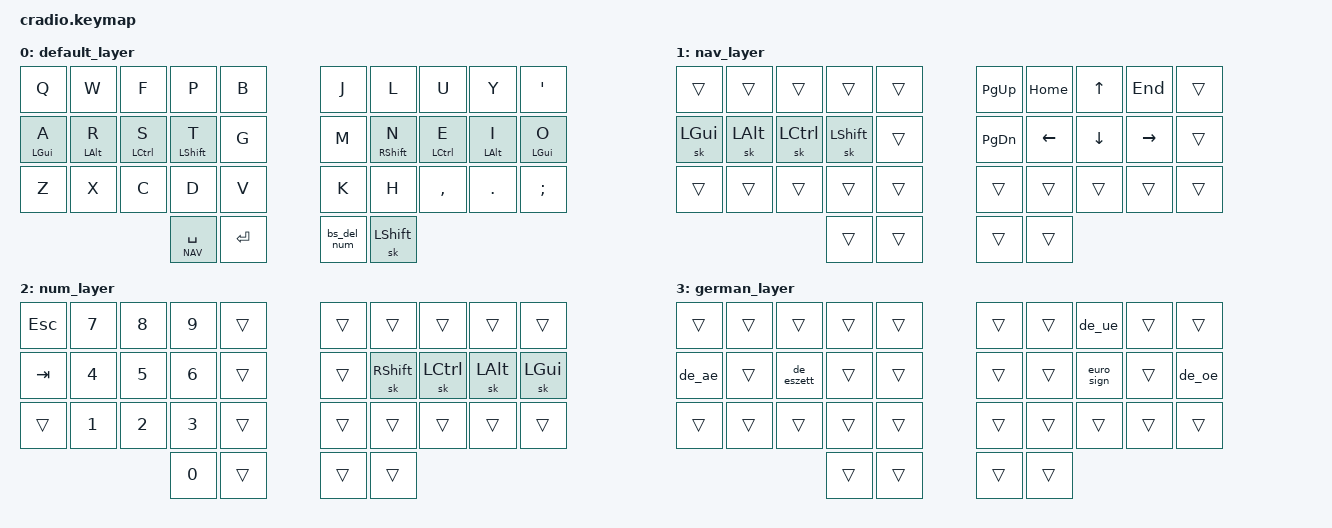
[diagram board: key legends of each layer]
/*                                      38 KEY MATRIX / LAYOUT MAPPING

    ╭────────────────────┬────────────────────╮        ╭──────────────────────┬─────────────────────╮
    │  0   1   2   3   4 │  5   6   7   8   9 │        │  LT4 LT3 LT2 LT1 LT0 │ RT0 RT1 RT2 RT3 RT4 │
 ╭──╯ 10  11  12  13  14 │ 15  16  17  18  19 ╰───╮ ╭──╯  LM4 LM3 LM2 LM1 LM0 │ RM0 RM1 RM2 RM3 RM4 ╰───╮
 │ 20 21  22  23  24  25 │ 26  27  28  29  30  31 │ │ LB5 LB4 LB3 LB2 LB1 LB0 │ RB0 RB1 RB2 RB3 RB4 RB5 │
 ╰──────────╮ 32  33  34 │ 35  36  37 ╭───────────╯ ╰──────────╮  LH2 LH1 LH0 │ RH0 RH1 RH2 ╭───────────╯
            ╰────────────┴────────────╯                        ╰──────────────┴─────────────╯
*/

#include <behaviors.dtsi>
#include <dt-bindings/zmk/keys.h>

#include "zmk-helpers/helper.h"
#include "zmk-helpers/key-labels/34.h"
#include "zmk-helpers/unicode-chars/german.dtsi"

#define ___ &trans

#define DEF 0
#define NAV 1
#define NUM 2
#define GER 3

/* Timeless homerow mods */

// https://github.com/urob/zmk-config/tree/main#timeless-homerow-mods
#define KEYS_L LT0 LT1 LT2 LT3 LT4 LM0 LM1 LM2 LM3 LM4 LB0 LB1 LB2 LB3 LB4  // left hand
#define KEYS_R RT0 RT1 RT2 RT3 RT4 RM0 RM1 RM2 RM3 RM4 RB0 RB1 RB2 RB3 RB4  // right hand
#define THUMBS LH1 LH0 RH0 RH1                                              // thumbs

ZMK_HOLD_TAP(hml,
    flavor = "balanced";
    tapping-term-ms = <280>;
    require-prior-idle-ms = <150>;
    hold-trigger-key-positions = <KEYS_R THUMBS>;
    hold-trigger-on-release;
    bindings = <&kp>, <&kp>;
)

ZMK_HOLD_TAP(hmr,
    flavor = "balanced";
    tapping-term-ms = <280>;
    require-prior-idle-ms = <150>;
    hold-trigger-key-positions = <KEYS_L THUMBS>;
    hold-trigger-on-release;
    bindings = <&kp>, <&kp>;
)

/* Custom behaviors */

// tap: copy | double-tap: cut
ZMK_TAP_DANCE(copy_cut,
    tapping-term-ms = <200>;
    bindings = <&kp LC(INS)>, <&kp LC(X)>;
)

// tap: backspace | shift + tap: delete | hold: num layer
ZMK_MOD_MORPH(bs_del_num,
    bindings = <&lt NUM BSPC>, <&kp DEL>;
    mods = <(MOD_LSFT|MOD_RSFT)>;
)

// windows sleep macro
ZMK_MACRO(win_sleep,
    wait-ms = <100>;
    tap-ms = <5>;
    bindings = <&kp LG(X) &kp U &kp S>;
)

// euro sign
ZMK_UNICODE_SINGLE(euro_sign, N2, N0, A, C)  // €

// replace a/o/u/s with German umlauts when NAV and NUM are held jointly
ZMK_CONDITIONAL_LAYER(ger, NAV NUM, GER)

// combos
ZMK_COMBO(sleep,    &win_sleep,  RT3 RT4, NAV)  // put Windows to sleep, only active on NAV layer
ZMK_COMBO(copy_cut, &copy_cut,   LB2 LB3, ALL)  // copy on tap, cut on double-tap, active on all layers
ZMK_COMBO(paste,    &kp LS(INS), LB1 LB2, ALL)  // paste, active on all layers

/* Keymap */

ZMK_LAYER(default_layer,
     // ╭─────────────┬─────────────┬─────────────┬─────────────┬─────────────╮   ╭─────────────┬─────────────┬─────────────┬─────────────┬─────────────╮
          &kp Q         &kp W         &kp F         &kp P         &kp B             &kp J         &kp L         &kp U         &kp Y         &kp SQT
     // ├─────────────┼─────────────┼─────────────┼─────────────┼─────────────┤   ├─────────────┼─────────────┼─────────────┼─────────────┼─────────────┤
          &hml LGUI A   &hml LALT R   &hml LCTRL S  &hml LSHFT T  &kp G             &kp M         &hmr RSHFT N  &hmr LCTRL E  &hmr LALT I   &hmr LGUI O
     // ├─────────────┼─────────────┼─────────────┼─────────────┼─────────────┤   ├─────────────┼─────────────┼─────────────┼─────────────┼─────────────┤
          &kp Z         &kp X         &kp C         &kp D         &kp V             &kp K         &kp H         &kp COMMA     &kp DOT       &kp SEMI
     // ╰─────────────────────────────────────────┼─────────────┼─────────────┤   ├─────────────┼─────────────┼─────────────────────────────────────────╯
                                                    &lt NAV SPACE &kp RET           &bs_del_num   &sk LSHFT
     //                                           ╰─────────────┴─────────────╯   ╰─────────────┴─────────────╯
)

ZMK_LAYER(nav_layer,
     // ╭─────────────┬─────────────┬─────────────┬─────────────┬─────────────╮   ╭─────────────┬─────────────┬─────────────┬─────────────┬─────────────╮
          ___           ___           ___           ___           ___               &kp PG_UP     &kp HOME      &kp UP        &kp END       ___
     // ├─────────────┼─────────────┼─────────────┼─────────────┼─────────────┤   ├─────────────┼─────────────┼─────────────┼─────────────┼─────────────┤
          &sk LGUI      &sk LALT      &sk LCTRL     &sk LSHFT     ___               &kp PG_DN     &kp LEFT      &kp DOWN      &kp RIGHT     ___
     // ├─────────────┼─────────────┼─────────────┼─────────────┼─────────────┤   ├─────────────┼─────────────┼─────────────┼─────────────┼─────────────┤
          ___           ___           ___           ___           ___               ___           ___           ___           ___           ___
     // ╰─────────────────────────────────────────┼─────────────┼─────────────┤   ├─────────────┼─────────────┼─────────────────────────────────────────╯
                                                    ___           ___               ___           ___
     //                                           ╰─────────────┴─────────────╯   ╰─────────────┴─────────────╯
)

ZMK_LAYER(num_layer,
     // ╭─────────────┬─────────────┬─────────────┬─────────────┬─────────────╮   ╭─────────────┬─────────────┬─────────────┬─────────────┬─────────────╮
          &kp ESC       &kp N7        &kp N8        &kp N9        ___               ___           ___           ___           ___           ___
     // ├─────────────┼─────────────┼─────────────┼─────────────┼─────────────┤   ├─────────────┼─────────────┼─────────────┼─────────────┼─────────────┤
          &kp TAB       &kp N4        &kp N5        &kp N6        ___               ___           &sk RSHFT     &sk LCTRL     &sk LALT      &sk LGUI
     // ├─────────────┼─────────────┼─────────────┼─────────────┼─────────────┤   ├─────────────┼─────────────┼─────────────┼─────────────┼─────────────┤
          ___           &kp N1        &kp N2        &kp N3        ___               ___           ___           ___           ___           ___
     // ╰─────────────────────────────────────────┼─────────────┼─────────────┤   ├─────────────┼─────────────┼─────────────────────────────────────────╯
                                                    &kp N0        ___               ___           ___
     //                                           ╰─────────────┴─────────────╯   ╰─────────────┴─────────────╯
)

ZMK_LAYER(german_layer,
     // ╭─────────────┬─────────────┬─────────────┬─────────────┬─────────────╮   ╭─────────────┬─────────────┬─────────────┬─────────────┬─────────────╮
          ___           ___           ___           ___           ___               ___           ___           &de_ue        ___           ___
     // ├─────────────┼─────────────┼─────────────┼─────────────┼─────────────┤   ├─────────────┼─────────────┼─────────────┼─────────────┼─────────────┤
          &de_ae        ___           &de_eszett    ___           ___               ___           ___           &euro_sign    ___           &de_oe
     // ├─────────────┼─────────────┼─────────────┼─────────────┼─────────────┤   ├─────────────┼─────────────┼─────────────┼─────────────┼─────────────┤
          ___           ___           ___           ___           ___               ___           ___           ___           ___           ___
     // ╰─────────────────────────────────────────┼─────────────┼─────────────┤   ├─────────────┼─────────────┼─────────────────────────────────────────╯
                                                    ___           ___               ___           ___
     //                                           ╰─────────────┴─────────────╯   ╰─────────────┴─────────────╯
)
